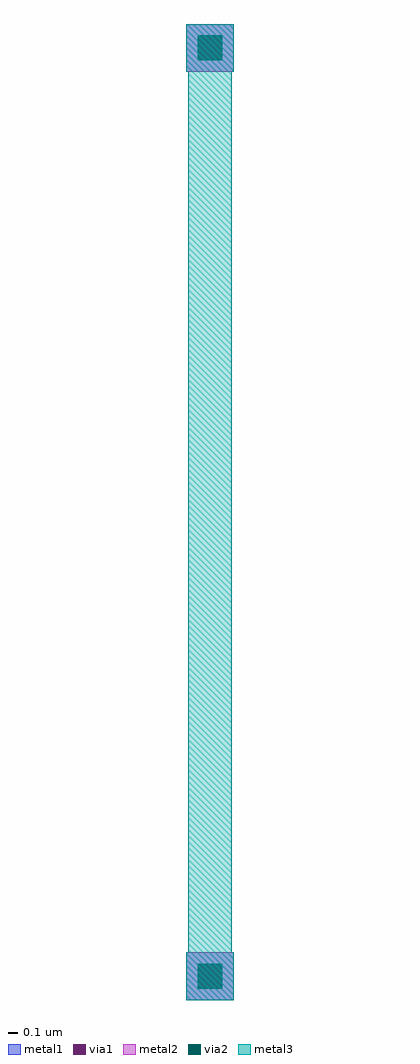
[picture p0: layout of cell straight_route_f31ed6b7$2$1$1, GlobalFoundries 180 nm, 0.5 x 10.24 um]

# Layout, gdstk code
import gdstk
lib = gdstk.Library(unit=1e-6, precision=5e-09)
def R(c, l, rs):  # rectangles x0, y0, x1, y1
    for r in rs: c.add(gdstk.rectangle(r[:2], r[2:], *l))
metal1 = (34, 0)
via1 = (35, 0)
metal2 = (36, 0)
via2 = (38, 0)
metal3 = (42, 0)

straight_route_f31ed6b7_ = lib.new_cell('straight_route_f31ed6b7$2$1$1')
R(straight_route_f31ed6b7_, metal1, [(0.94,-14.015,1.44,-13.515), (0.94,-4.275,1.44,-3.775)])
R(straight_route_f31ed6b7_, via1, [(1.06,-13.895,1.32,-13.635), (1.06,-4.155,1.32,-3.895)])
R(straight_route_f31ed6b7_, metal2, [(0.94,-14.015,1.44,-13.515), (0.94,-4.275,1.44,-3.775)])
R(straight_route_f31ed6b7_, via2, [(1.06,-13.895,1.32,-13.635), (1.06,-4.155,1.32,-3.895)])
R(straight_route_f31ed6b7_, metal3, [(0.94,-14.015,1.44,-13.515), (0.96,-13.515,1.42,-4.275), (0.94,-4.275,1.44,-3.775)])

lib.write_gds('straight_route_f31ed6b7_2_1_1.gds')
